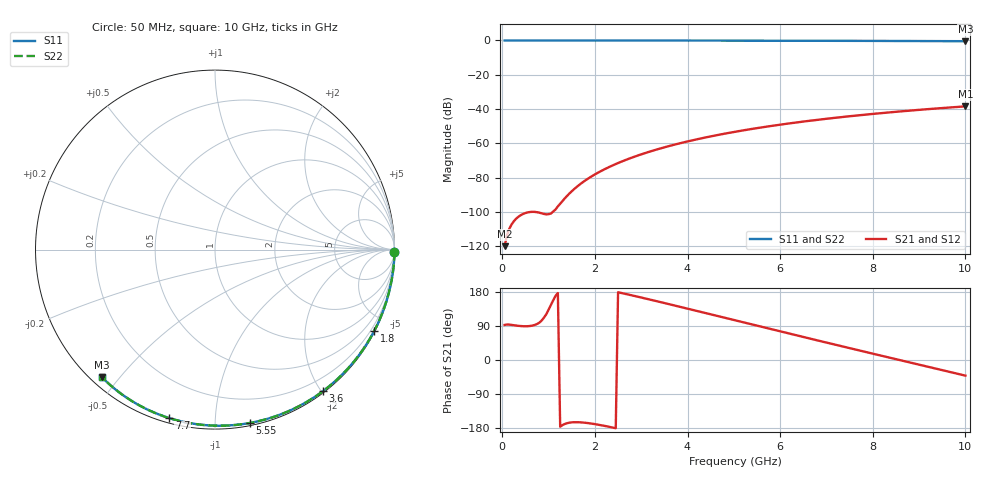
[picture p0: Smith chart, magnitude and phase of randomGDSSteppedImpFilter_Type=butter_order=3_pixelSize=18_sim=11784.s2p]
! freq	dB(S11)	phase(S11)	dB(S12)	phase(S12)
!  dB(S21)	phase(S21)	dB(S22)	phase(S22)
!S-par simulation data
#  GHz  S  DB  R 50
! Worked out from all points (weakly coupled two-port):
!   200 points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, 50 MHz to 10 GHz, reference 50 ohm
!   highest |S21| = -38.42 dB at 10 GHz (marker M1); lowest = -119.9 dB at 50 MHz (marker M2)
!   lowest |S11| = -0.4 dB at 10 GHz (marker M3), VSWR 38.99, Z = 1.54 - j22.5 ohm
!   |S11| at or under -10 dB: nowhere
!   |S22| runs from -0.4 to 0.0 dB; largest |S21 - S12| = 0
!   S11 on the Smith chart (normalised r, x): 50 MHz: open; 1.8 GHz: 0.04, -4.17; 3.6 GHz: 0.02, -2.02; 5.55 GHz: 0.02, -1.22; 7.7 GHz: 0.02, -0.77; 10 GHz: 0.03, -0.45
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0.05  -0.00 -0.8  -119.88 92.5  -119.88 92.5  -0.00 -0.8
0.9  -0.02 -13.6  -101.10 111.9  -101.10 111.9  -0.02 -13.6
1.75  -0.03 -26.2  -82.37 -165.1  -82.37 -165.1  -0.03 -26.2
1.8  -0.03 -26.9  -81.43 -165.7  -81.43 -165.7  -0.03 -26.9
1.85  -0.04 -27.7  -80.54 -166.5  -80.54 -166.5  -0.04 -27.7
1.9  -0.04 -28.4  -79.68 -167.3  -79.68 -167.3  -0.04 -28.4
2.05  -0.04 -30.6  -77.30 -170.3  -77.30 -170.3  -0.04 -30.6
2.25  -0.04 -33.5  -74.49 -174.9  -74.49 -174.9  -0.04 -33.5
2.45  -0.05 -36.4  -72.01 -179.9  -72.01 -179.9  -0.05 -36.4
2.65  -0.05 -39.3  -69.78 174.7  -69.78 174.7  -0.05 -39.3
3  -0.06 -44.3  -66.37 164.9  -66.37 164.9  -0.06 -44.3
3.4  -0.07 -49.9  -63.03 153.3  -63.03 153.3  -0.07 -49.9
3.6  -0.07 -52.7  -61.54 147.4  -61.54 147.4  -0.07 -52.7
4.3  -0.09 -62.3  -57.03 126.5  -57.03 126.5  -0.09 -62.3
5.05  -0.11 -72.2  -53.11 104.0  -53.11 104.0  -0.11 -72.2
5.55  -0.13 -78.7  -50.87 89.1  -50.87 89.1  -0.13 -78.7
6.1  -0.15 -85.7  -48.69 72.6  -48.69 72.6  -0.15 -85.7
6.7  -0.18 -93.1  -46.60 54.8  -46.60 54.8  -0.18 -93.1
7.7  -0.24 -105.1  -43.60 25.4  -43.60 25.4  -0.24 -105.1
8.35  -0.29 -112.7  -41.93 6.5  -41.93 6.5  -0.29 -112.7
9.15  -0.36 -121.9  -40.11 -16.6  -40.11 -16.6  -0.36 -121.9
10  -0.45 -131.5  -38.42 -41.2  -38.42 -41.2  -0.45 -131.5
